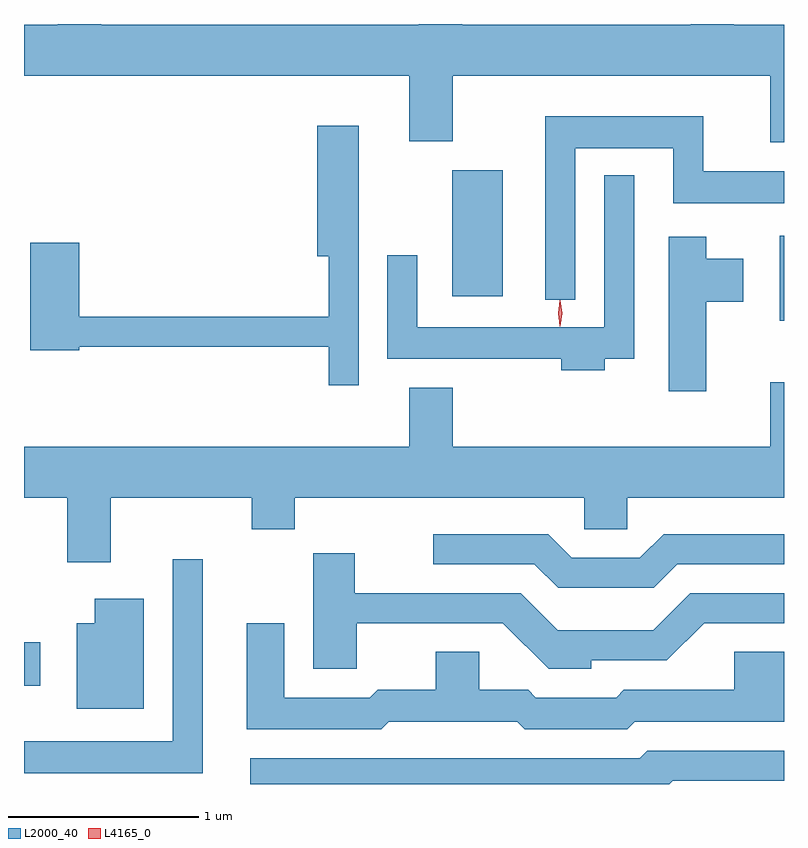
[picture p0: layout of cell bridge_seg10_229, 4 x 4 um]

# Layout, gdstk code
import gdstk
lib = gdstk.Library(unit=1e-6, precision=1e-09)
def R(c, l, rs):  # rectangles x0, y0, x1, y1
    for r in rs: c.add(gdstk.rectangle(r[:2], r[2:], *l))
def P(c, l, *ps):  # polygons
    for p in ps: c.add(gdstk.Polygon(p, *l))
L2000_40 = (2000, 40)
L4165_0 = (4165, 0)

bridge_seg10_229 = lib.new_cell('bridge_seg10_229')
R(bridge_seg10_229, L2000_40, [(1799.203,2097.386,1799.289,2097.614), (1803.181,2099.306,1803.203,2099.754), (1801.456,2099.436,1801.724,2100.099)])
P(bridge_seg10_229, L2000_40, [(1803.203,2100.864),(1802.939,2100.864),(1802.939,2100.869),(1802.711,2100.869),(1802.711,2100.864),(1801.509,2100.864),(1801.509,2100.869),(1801.281,2100.869),(1801.281,2100.864),(1799.609,2100.864),(1799.609,2100.869),(1799.381,2100.869),(1799.381,2100.864),(1799.203,2100.864),(1799.203,2100.596),(1801.231,2100.596),(1801.231,2100.251),(1801.459,2100.251),(1801.459,2100.596),(1803.131,2100.596),(1803.131,2100.246),(1803.203,2100.246)],
  [(1802.104,2100.216),(1802.621,2100.216),(1802.621,2099.926),(1803.203,2099.926),(1803.203,2100.094),(1802.779,2100.094),(1802.779,2100.384),(1801.946,2100.384),(1801.946,2099.418),(1802.104,2099.418)],
  [(1800.964,2100.334),(1800.746,2100.334),(1800.746,2099.646),(1800.806,2099.646),(1800.806,2099.329),(1799.494,2099.329),(1799.494,2099.719),(1799.236,2099.719),(1799.236,2099.151),(1799.494,2099.151),(1799.494,2099.171),(1800.806,2099.171),(1800.806,2098.968),(1800.964,2098.968)],
  [(1802.259,2099.106),(1802.414,2099.106),(1802.414,2100.073),(1802.256,2100.073),(1802.256,2099.274),(1801.274,2099.274),(1801.274,2099.653),(1801.116,2099.653),(1801.116,2099.106),(1802.031,2099.106),(1802.031,2099.046),(1802.259,2099.046)],
  [(1802.794,2099.406),(1802.989,2099.406),(1802.989,2099.634),(1802.794,2099.634),(1802.794,2099.749),(1802.596,2099.749),(1802.596,2098.936),(1802.794,2098.936)],
  [(1799.659,2098.376),(1800.401,2098.376),(1800.401,2098.211),(1800.629,2098.211),(1800.629,2098.376),(1802.151,2098.376),(1802.151,2098.211),(1802.379,2098.211),(1802.379,2098.376),(1803.203,2098.376),(1803.203,2098.984),(1803.131,2098.984),(1803.131,2098.644),(1801.459,2098.644),(1801.459,2098.954),(1801.231,2098.954),(1801.231,2098.644),(1799.203,2098.644),(1799.203,2098.376),(1799.431,2098.376),(1799.431,2098.036),(1799.659,2098.036)],
  [(1802.642,2098.026),(1803.203,2098.026),(1803.203,2098.184),(1802.569,2098.184),(1802.444,2098.059),(1802.087,2098.059),(1801.962,2098.184),(1801.358,2098.184),(1801.358,2098.026),(1801.889,2098.026),(1802.014,2097.901),(1802.517,2097.901)],
  [(1800.954,2097.716),(1801.724,2097.716),(1801.964,2097.476),(1802.189,2097.476),(1802.189,2097.521),(1802.587,2097.521),(1802.782,2097.716),(1803.203,2097.716),(1803.203,2097.874),(1802.709,2097.874),(1802.514,2097.679),(1802.012,2097.679),(1801.817,2097.874),(1800.944,2097.874),(1800.944,2098.084),(1800.726,2098.084),(1800.726,2097.476),(1800.954,2097.476)],
  [(1800.144,2098.053),(1799.986,2098.053),(1799.986,2097.094),(1799.203,2097.094),(1799.203,2096.926),(1800.144,2096.926)],
  [(1799.834,2097.844),(1799.576,2097.844),(1799.576,2097.714),(1799.481,2097.714),(1799.481,2097.266),(1799.834,2097.266)],
  [(1801.122,2097.196),(1801.799,2097.196),(1801.839,2097.156),(1802.377,2097.156),(1802.417,2097.196),(1803.203,2097.196),(1803.203,2097.564),(1802.941,2097.564),(1802.941,2097.364),(1802.359,2097.364),(1802.319,2097.324),(1801.897,2097.324),(1801.857,2097.364),(1801.599,2097.364),(1801.599,2097.564),(1801.371,2097.564),(1801.371,2097.364),(1801.064,2097.364),(1801.024,2097.324),(1800.574,2097.324),(1800.574,2097.714),(1800.376,2097.714),(1800.376,2097.156),(1801.082,2097.156)],
  [(1802.617,2096.886),(1803.203,2096.886),(1803.203,2097.044),(1802.484,2097.044),(1802.444,2097.004),(1800.393,2097.004),(1800.393,2096.869),(1802.6,2096.869)])
P(bridge_seg10_229, L4165_0, [(1802.025,2099.28),(1802.025,2099.28),(1802.015,2099.346),(1802.024,2099.412),(1802.025,2099.413),(1802.025,2099.412),(1802.035,2099.346),(1802.026,2099.28)],
  [(1802.024,2099.277),(1802.015,2099.346),(1802.024,2099.416),(1802.025,2099.416),(1802.025,2099.416),(1802.035,2099.346),(1802.025,2099.277),(1802.025,2099.277)])

lib.write_gds('bridge_seg10_229.gds')
